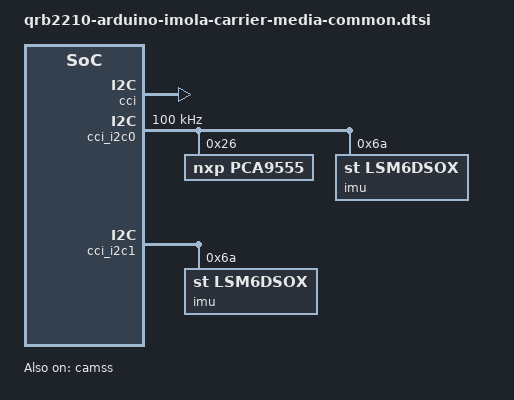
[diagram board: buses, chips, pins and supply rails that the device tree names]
// SPDX-License-Identifier: (GPL-2.0+ OR BSD-3-Clause)
/*
 */

#include <dt-bindings/gpio/gpio.h>

&camss {
	status = "okay";

	vdda-csiphy-1p2-supply = <&pm4125_l5>;
	vdda-pll-1p8-supply = <&pm4125_l13>;
};

&cci {
	status= "okay";
};

&cci_i2c0 {
	clock-frequency = <100000>;
	#address-cells = <1>;
	#size-cells = <0>;

	pca9555: gpio@26 {
		compatible = "nxp,pca9555";
		reg = <0x26>;
		gpio-controller;
		#gpio-cells = <2>;
	};

	imu@6a {
		compatible = "st,lsm6dsox";
		reg = <0x6a>;
	};
};

&cci_i2c1 {
	#address-cells = <1>;
	#size-cells = <0>;

	imu@6a {
		compatible = "st,lsm6dsox";
		reg = <0x6a>;
	};
};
